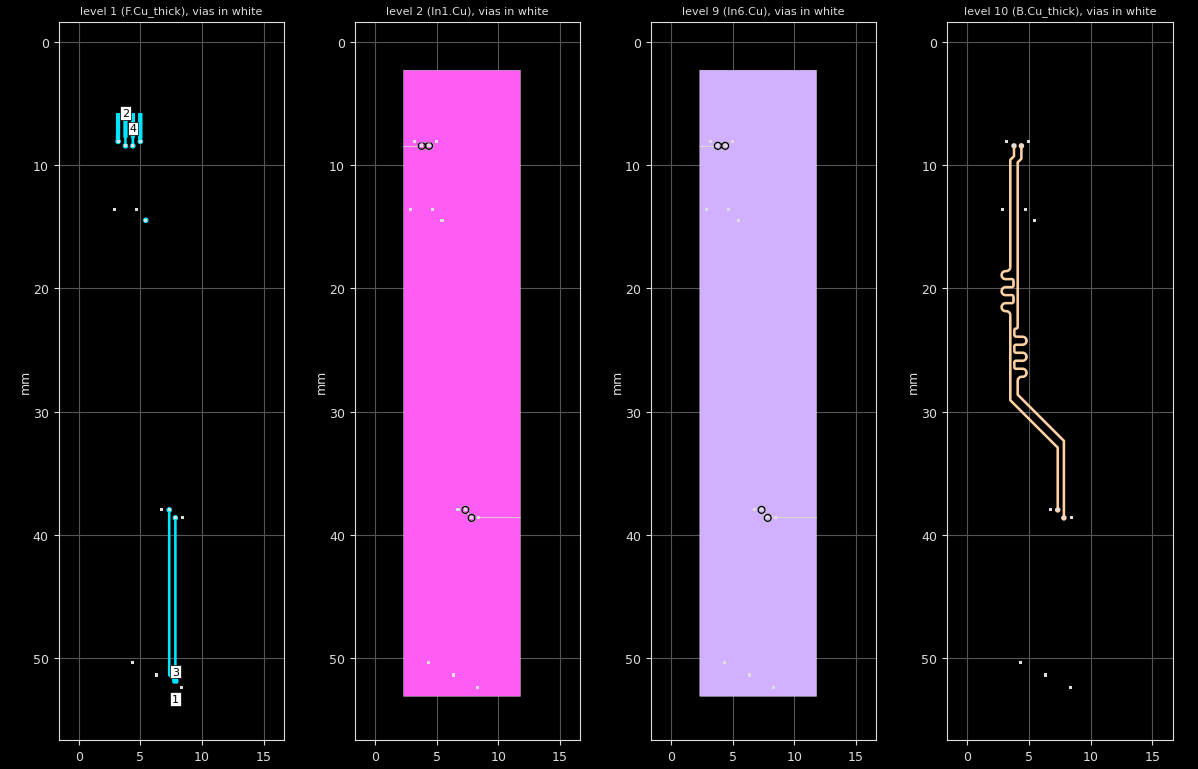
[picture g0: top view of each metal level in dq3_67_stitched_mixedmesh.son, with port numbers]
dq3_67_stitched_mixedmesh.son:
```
FTYP SONPROJ 19 ! Sonnet Project File
VER 18.52
HEADER
LIC antikernel2.1.51176
DAT 12/20/2021 19:28:15
BUILT_BY_CREATED dxf 18.52 12/15/2021 18:24:32
BUILT_BY_SAVED sonnet 18.52
MDATE 12/20/2021 19:28:15
HDATE 12/20/2021 19:28:15
ANN Created by dxfgeo, Sonnet Software Inc.
END HEADER
DIM
ANG DEG
CAP PF
CON /OH
FREQ GHZ
IND NH
LNG MM
RES OH
END DIM
CONTROL
VARSWP
OPTIONS  -dj
SPEED 1
CACHE_ABS 2
Q_ACC N
END CONTROL
GEO
TMET "Free Space" 0 FREESPACE 376.7303136 0 0 0
BMET "Free Space" 0 FREESPACE 376.7303136 0 0 0
MET "Copper_1oz_thin" 1 NOR 58000000 0.5 0.035 
MET "Copper_1oz_thick" 2 TMM 58000000 0.5 0.035 2
MET "Copper_0.5oz_thin" 4 NOR 58000000 0.5 0.017 
MET "Copper_0.5oz_thick" 12 TMM 58000000 0.5 0.017 2
MET "Copper_0.5oz_thick_down" 5 TMM 58000000 0.5 0.017 2 CDVY TDWN
MET "Copper_1oz_thick_down" 3 TMM 58000000 0.5 0.035 2 CDVY TDWN
BOX 12 15 55 1200 4400 20 0
      5 1 1 0 0 0 0 "Air"
      0.04 3.5 1 0.025 0 0 0 "Soldermask"
      0.075 3.39 1 0.004 0 0 0 "Panasonic_R-5775(G)"
      0.068 3.56 1 0.004 0 0 0 "Panasonic_R-5670(G)"
      0.13 3.39 1 0.004 0 0 0 "Panasonic_R-5775(G)"
      0.092 3.56 1 0.004 0 0 0 "Panasonic_R-5670(G)"
      0.609 3.39 1 0.004 0 0 0 "Panasonic_R-5775(G)"
      0.092 3.56 1 0.004 0 0 0 "Panasonic_R-5670(G)"
      0.13 3.39 1 0.004 0 0 0 "Panasonic_R-5775(G)"
      0.068 3.56 1 0.004 0 0 0 "Panasonic_R-5670(G)"
      0.075 3.39 1 0.004 0 0 0 "Panasonic_R-5775(G)"
      0.04 3.5 1 0.025 0 0 0 "Soldermask"
      5 1 1 0 0 0 0 "Air"
TECHLAY METAL F.Cu_thick L1D0 -2 -65534 CAD F.Cu_thick drawing 
1 0 1 N 6837 1 1 100 100 0 0 0 Y
END
END
TECHLAY VIA Via1 L9D0 -13 -65534 CAD Via1 drawing 
VIA POLYGON
1 0 -1 N 6847 1 1 100 100 0 0 0 Y
TOLEVEL 10 RING NOCOVERS
END
END
TECHLAY METAL F.Cu_thin <UNSPECIFIED> -1 -65534 CAD F.Cu_thin drawing 
1 0 0 N 6849 1 1 100 100 0 0 0 Y
END
END
TECHLAY METAL In1.Cu L2D0 -3 -65534 CAD In1.Cu drawing 
2 0 0 N 6852 1 1 100 100 0 0 0 Y
END
END
TECHLAY METAL In2.Cu_thick L3D0 -5 -65534 CAD In2.Cu_thick drawing 
3 0 3 N 6855 1 1 100 100 0 0 0 Y
END
END
TECHLAY METAL In2.Cu_thin <UNSPECIFIED> -4 -65534 CAD In2.Cu drawing 
3 0 2 N 6857 1 1 100 100 0 0 0 Y
END
END
TECHLAY METAL In3.Cu L4D0 -6 -65534 CAD In3.Cu drawing 
4 0 0 N 6860 1 1 100 100 0 0 0 Y
END
END
TECHLAY METAL In4.Cu L5D0 -7 -65534 CAD In4.Cu drawing 
7 0 0 N 6865 1 1 100 100 0 0 0 Y
END
END
TECHLAY METAL In5.Cu_thick L6D0 -9 -65534 CAD In5.Cu_thick drawing 
8 0 4 N 6868 1 1 100 100 0 0 0 Y
END
END
TECHLAY METAL In5.Cu_thin <UNSPECIFIED> -8 -65534 CAD In5.Cu drawing 
8 0 2 N 6870 1 1 100 100 0 0 0 Y
END
END
TECHLAY METAL In6.Cu L7D0 -10 -65534 CAD In6.Cu drawing 
9 0 0 N 6873 1 1 100 100 0 0 0 Y
END
END
TECHLAY METAL B.Cu_thick L8D0 -12 -65534 CAD B.Cu_thick drawing 
10 0 5 N 6876 1 1 100 100 0 0 0 Y
END
END
TECHLAY METAL B.Cu_thin <UNSPECIFIED> -11 -65534 CAD B.Cu_thin drawing 
10 0 0 N 6878 1 1 100 100 0 0 0 Y
END
END
VALVAR CORE_ER NONE "table1(\"core_er.csv\",FREQ)" "Variable set in material file"
VALVAR CORE_DF NONE "table1(\"core_df.csv\",FREQ)" "Variable set in material file"
VALVAR PREPREG_DF NONE "table1(\"prepreg_df.csv\",FREQ)" "Variable set in material file"
VALVAR PREPREG_ER NONE "table1(\"prepreg_er.csv\",FREQ)" "Variable set in material file"
LORGN 0 55 U 
POR1 CUP Auto
GNDREF AUTO
TERMW FEED
POLY 90 1
30
2 40 0 0 0 3.783 5.774 
CUPGRP "Auto" LOCAL
ID 6839
END
POR1 CUP Auto
GNDREF AUTO
TERMW FEED
POLY 91 1
30
4 40 0 0 0 4.383 5.774 
CUPGRP "Auto" LOCAL
ID 6841
END
POR1 CUP Auto
GNDREF AUTO
TERMW FEED
POLY 6737 1
102
3 40 0 0 0 7.833 51.1 
CUPGRP "Auto" LOCAL
ID 6843
END
POR1 CUP Auto
GNDREF AUTO
TERMW FEED
POLY 6739 1
109
1 40 0 0 0 7.833 52.075 
CUPGRP "Auto" LOCAL
ID 6845
END
NUM 35
1 65 1 N 51 1 1 100 100 0 0 0 Y
TLAYNAM F.Cu_thick INH
USER_DAT FromImport
5.422 14.699
5.4 14.697
5.378 14.692
5.357 14.686
5.337 14.677
5.317 14.667
5.299 14.655
5.282 14.641
5.266 14.625
5.252 14.608
5.24 14.59
5.23 14.57
5.221 14.55
5.215 14.529
5.21 14.507
5.208 14.485
5.208 14.463
5.21 14.441
5.215 14.419
5.221 14.398
5.23 14.378
5.24 14.358
5.252 14.34
5.266 14.323
5.282 14.307
5.299 14.293
5.317 14.281
5.337 14.271
5.357 14.262
5.378 14.256
5.4 14.251
5.422 14.249
5.444 14.249
5.466 14.251
5.488 14.256
5.509 14.262
5.529 14.271
5.549 14.281
5.567 14.293
5.584 14.307
5.6 14.323
5.614 14.34
5.626 14.358
5.636 14.378
5.645 14.398
5.651 14.419
5.656 14.441
5.658 14.463
5.658 14.485
5.656 14.507
5.651 14.529
5.645 14.55
5.636 14.57
5.626 14.59
5.614 14.608
5.6 14.625
5.584 14.641
5.567 14.655
5.549 14.667
5.529 14.677
5.509 14.686
5.488 14.692
5.466 14.697
5.444 14.699
5.422 14.699
END
1 63 1 N 90 1 1 100 100 0 0 0 Y
TLAYNAM F.Cu_thick INH
USER_DAT FromImport
3.772 8.659
3.75 8.657
3.728 8.652
3.707 8.646
3.687 8.637
3.667 8.627
3.649 8.615
3.632 8.601
3.616 8.585
3.602 8.568
3.59 8.55
3.58 8.53
3.571 8.51
3.565 8.489
3.56 8.467
3.558 8.445
3.558 8.423
3.56 8.401
3.565 8.379
3.571 8.358
3.58 8.338
3.59 8.318
3.602 8.3
3.616 8.283
3.632 8.267
3.649 8.253
3.667 8.241
3.678 8.236
3.678 7.774
3.608 7.774
3.608 5.774
3.958 5.774
3.958 7.774
3.888 7.774
3.888 8.236
3.899 8.241
3.917 8.253
3.934 8.267
3.95 8.283
3.964 8.3
3.976 8.318
3.986 8.338
3.995 8.358
4.001 8.379
4.006 8.401
4.008 8.423
4.008 8.445
4.006 8.467
4.001 8.489
3.995 8.51
3.986 8.53
3.976 8.55
3.964 8.568
3.95 8.585
3.934 8.601
3.917 8.615
3.899 8.627
3.879 8.637
3.859 8.646
3.838 8.652
3.816 8.657
3.794 8.659
3.772 8.659
END
1 63 1 N 91 1 1 100 100 0 0 0 Y
TLAYNAM F.Cu_thick INH
USER_DAT FromImport
4.372 8.659
4.35 8.657
4.328 8.652
4.307 8.646
4.287 8.637
4.267 8.627
4.249 8.615
4.232 8.601
4.216 8.585
4.202 8.568
4.19 8.55
4.18 8.53
4.171 8.51
4.165 8.489
4.16 8.467
4.158 8.445
4.158 8.423
4.16 8.401
4.165 8.379
4.171 8.358
4.18 8.338
4.19 8.318
4.202 8.3
4.216 8.283
4.232 8.267
4.249 8.253
4.267 8.241
4.278 8.236
4.278 7.774
4.208 7.774
4.208 5.774
4.558 5.774
4.558 7.774
4.488 7.774
4.488 8.236
4.499 8.241
4.517 8.253
4.534 8.267
4.55 8.283
4.564 8.3
4.576 8.318
4.586 8.338
4.595 8.358
4.601 8.379
4.606 8.401
4.608 8.423
4.608 8.445
4.606 8.467
4.601 8.489
4.595 8.51
4.586 8.53
4.576 8.55
4.564 8.568
4.55 8.585
4.534 8.601
4.517 8.615
4.499 8.627
4.479 8.637
4.459 8.646
4.438 8.652
4.416 8.657
4.394 8.659
4.372 8.659
END
1 105 1 N 6737 1 1 100 100 0 0 0 Y
TLAYNAM F.Cu_thick INH
USER_DAT FromImport
7.991 51.087
8.011 51.07
8.029 51.052
8.046 51.032
8.06 51.01
8.073 50.987
8.083 50.963
8.09 50.938
8.095 50.913
8.098 50.887
8.098 50.861
8.095 50.835
8.09 50.81
8.083 50.785
8.073 50.761
8.06 50.738
8.046 50.716
8.029 50.696
8.011 50.678
7.991 50.661
7.969 50.647
7.946 50.634
7.938 50.631
7.938 38.823
7.949 38.817
7.967 38.805
7.984 38.791
8 38.775
8.014 38.758
8.026 38.74
8.036 38.72
8.045 38.7
8.051 38.679
8.056 38.657
8.058 38.635
8.058 38.613
8.056 38.591
8.051 38.569
8.045 38.548
8.036 38.528
8.026 38.508
8.014 38.49
8 38.473
7.984 38.457
7.967 38.443
7.949 38.431
7.929 38.421
7.909 38.412
7.888 38.406
7.866 38.401
7.844 38.399
7.822 38.399
7.8 38.401
7.778 38.406
7.757 38.412
7.737 38.421
7.717 38.431
7.699 38.443
7.682 38.457
7.666 38.473
7.652 38.49
7.64 38.508
7.63 38.528
7.621 38.548
7.615 38.569
7.61 38.591
7.608 38.613
7.608 38.635
7.61 38.657
7.615 38.679
7.621 38.7
7.63 38.72
7.64 38.74
7.652 38.758
7.666 38.775
7.682 38.791
7.699 38.805
7.717 38.817
7.728 38.823
7.728 50.631
7.72 50.634
7.697 50.647
7.675 50.661
7.655 50.678
7.637 50.696
7.62 50.716
7.606 50.738
7.593 50.761
7.583 50.785
7.576 50.81
7.571 50.835
7.568 50.861
7.568 50.887
7.571 50.913
7.576 50.938
7.583 50.963
7.593 50.987
7.606 51.01
7.62 51.032
7.637 51.052
7.655 51.07
7.675 51.087
7.695428571 51.1
7.970571429 51.1
7.991 51.087
END
1 112 1 N 6739 1 1 100 100 0 0 0 Y
TLAYNAM F.Cu_thick INH
USER_DAT FromImport
8.011 52.07
8.029 52.052
8.046 52.032
8.06 52.01
8.073 51.987
8.083 51.963
8.09 51.938
8.095 51.913
8.098 51.887
8.098 51.861
8.095 51.835
8.09 51.81
8.083 51.785
8.073 51.761
8.06 51.738
8.046 51.716
8.029 51.696
8.011 51.678
7.991 51.661
7.969 51.647
7.946 51.634
7.922 51.624
7.897 51.617
7.872 51.612
7.846 51.609
7.82 51.609
7.794 51.612
7.769 51.617
7.744 51.624
7.736 51.628
7.438 51.33
7.438 38.173
7.449 38.167
7.467 38.155
7.484 38.141
7.5 38.125
7.514 38.108
7.526 38.09
7.536 38.07
7.545 38.05
7.551 38.029
7.556 38.007
7.558 37.985
7.558 37.963
7.556 37.941
7.551 37.919
7.545 37.898
7.536 37.878
7.526 37.858
7.514 37.84
7.5 37.823
7.484 37.807
7.467 37.793
7.449 37.781
7.429 37.771
7.409 37.762
7.388 37.756
7.366 37.751
7.344 37.749
7.322 37.749
7.3 37.751
7.278 37.756
7.257 37.762
7.237 37.771
7.217 37.781
7.199 37.793
7.182 37.807
7.166 37.823
7.152 37.84
7.14 37.858
7.13 37.878
7.121 37.898
7.115 37.919
7.11 37.941
7.108 37.963
7.108 37.985
7.11 38.007
7.115 38.029
7.121 38.05
7.13 38.07
7.14 38.09
7.152 38.108
7.166 38.125
7.182 38.141
7.199 38.155
7.217 38.167
7.228 38.173
7.228 51.379
7.229 51.389
7.231 51.4
7.234 51.409
7.238 51.419
7.243 51.428
7.249 51.437
7.255 51.445
7.587 51.777
7.583 51.785
7.576 51.81
7.571 51.835
7.568 51.861
7.568 51.887
7.571 51.913
7.576 51.938
7.583 51.963
7.593 51.987
7.606 52.01
7.62 52.032
7.637 52.052
7.655 52.07
7.660882353 52.075
8.005117647 52.075
8.011 52.07
END
1 56 1 N 6750 1 1 100 100 0 0 0 Y
TLAYNAM F.Cu_thick INH
USER_DAT FromImport
5.016 8.297
5.038 8.292
5.059 8.286
5.079 8.277
5.099 8.267
5.117 8.255
5.134 8.241
5.15 8.225
5.164 8.208
5.176 8.19
5.186 8.17
5.195 8.15
5.201 8.129
5.206 8.107
5.208 8.085
5.208 8.063
5.206 8.041
5.201 8.019
5.195 7.998
5.186 7.978
5.176 7.958
5.164 7.94
5.15 7.923
5.15 7.774
5.158 7.774
5.158 5.774
4.808 5.774
4.808 7.45
4.8 7.45
4.8 7.923
4.816 7.923
4.802 7.94
4.79 7.958
4.78 7.978
4.771 7.998
4.765 8.019
4.76 8.041
4.758 8.063
4.758 8.085
4.76 8.107
4.765 8.129
4.771 8.15
4.78 8.17
4.79 8.19
4.802 8.208
4.816 8.225
4.832 8.241
4.849 8.255
4.867 8.267
4.887 8.277
4.907 8.286
4.928 8.292
4.95 8.297
4.972 8.299
4.994 8.299
5.016 8.297
END
1 56 1 N 6752 1 1 100 100 0 0 0 Y
TLAYNAM F.Cu_thick INH
USER_DAT FromImport
3.216 8.297
3.238 8.292
3.259 8.286
3.279 8.277
3.299 8.267
3.317 8.255
3.334 8.241
3.35 8.225
3.364 8.208
3.376 8.19
3.386 8.17
3.395 8.15
3.401 8.129
3.406 8.107
3.408 8.085
3.408 8.063
3.406 8.041
3.401 8.019
3.395 7.998
3.386 7.978
3.376 7.958
3.364 7.94
3.35 7.923
3.35 7.774
3.358 7.774
3.358 5.774
3.008 5.774
3.008 7.5
3 7.5
3 7.923
3.016 7.923
3.002 7.94
2.99 7.958
2.98 7.978
2.971 7.998
2.965 8.019
2.96 8.041
2.958 8.063
2.958 8.085
2.96 8.107
2.965 8.129
2.971 8.15
2.98 8.17
2.99 8.19
3.002 8.208
3.016 8.225
3.032 8.241
3.049 8.255
3.067 8.267
3.087 8.277
3.107 8.286
3.128 8.292
3.15 8.297
3.172 8.299
3.194 8.299
3.216 8.297
END
VIA POLYGON
1 5 -1 N 6002 1 1 100 100 0 0 0 Y
TOLEVEL 10 RING NOCOVERS
TLAYNAM Via1 INH
USER_DAT FromImport
5.308 14.599
5.308 14.349
5.558 14.349
5.558 14.599
5.308 14.599
END
VIA POLYGON
1 5 -1 N 6012 1 1 100 100 0 0 0 Y
TOLEVEL 10 RING NOCOVERS
TLAYNAM Via1 INH
USER_DAT FromImport
2.758 13.749
2.758 13.499
3.008 13.499
3.008 13.749
2.758 13.749
END
VIA POLYGON
1 5 -1 N 6013 1 1 100 100 0 0 0 Y
TOLEVEL 10 RING NOCOVERS
TLAYNAM Via1 INH
USER_DAT FromImport
4.558 13.749
4.558 13.499
4.808 13.499
4.808 13.749
4.558 13.749
END
VIA POLYGON
1 5 -1 N 6041 1 1 100 100 0 0 0 Y
TOLEVEL 10 RING NOCOVERS
TLAYNAM Via1 INH
USER_DAT FromImport
3.658 8.559
3.658 8.309
3.908 8.309
3.908 8.559
3.658 8.559
END
VIA POLYGON
1 5 -1 N 6042 1 1 100 100 0 0 0 Y
TOLEVEL 10 RING NOCOVERS
TLAYNAM Via1 INH
USER_DAT FromImport
4.258 8.559
4.258 8.309
4.508 8.309
4.508 8.559
4.258 8.559
END
VIA POLYGON
1 5 -1 N 6050 1 1 100 100 0 0 0 Y
TOLEVEL 10 RING NOCOVERS
TLAYNAM Via1 INH
USER_DAT FromImport
3.058 8.199
3.058 7.949
3.308 7.949
3.308 8.199
3.058 8.199
END
VIA POLYGON
1 5 -1 N 6051 1 1 100 100 0 0 0 Y
TOLEVEL 10 RING NOCOVERS
TLAYNAM Via1 INH
USER_DAT FromImport
4.858 8.199
4.858 7.949
5.108 7.949
5.108 8.199
4.858 8.199
END
VIA POLYGON
1 5 -1 N 6161 1 1 100 100 0 0 0 Y
TOLEVEL 10 RING NOCOVERS
TLAYNAM Via1 INH
USER_DAT FromImport
7.708 38.749
7.708 38.499
7.958 38.499
7.958 38.749
7.708 38.749
END
VIA POLYGON
1 5 -1 N 6163 1 1 100 100 0 0 0 Y
TOLEVEL 10 RING NOCOVERS
TLAYNAM Via1 INH
USER_DAT FromImport
7.208 38.099
7.208 37.849
7.458 37.849
7.458 38.099
7.208 38.099
END
VIA POLYGON
1 5 -1 N 6184 1 1 100 100 0 0 0 Y
TOLEVEL 10 RING NOCOVERS
TLAYNAM Via1 INH
USER_DAT FromImport
8.208 52.499
8.208 52.249
8.458 52.249
8.458 52.499
8.208 52.499
END
VIA POLYGON
1 5 -1 N 6186 1 1 100 100 0 0 0 Y
TOLEVEL 10 RING NOCOVERS
TLAYNAM Via1 INH
USER_DAT FromImport
6.208 51.499
6.208 51.249
6.458 51.249
6.458 51.499
6.208 51.499
END
VIA POLYGON
1 5 -1 N 6188 1 1 100 100 0 0 0 Y
TOLEVEL 10 RING NOCOVERS
TLAYNAM Via1 INH
USER_DAT FromImport
4.208 50.499
4.208 50.249
4.458 50.249
4.458 50.499
4.208 50.499
END
VIA POLYGON
1 5 -1 N 6820 1 1 100 100 0 0 0 Y
TOLEVEL 10 RING NOCOVERS
TLAYNAM Via1 INH
USER_DAT FromImport
6.608 38.099
6.608 37.849
6.858 37.849
6.858 38.099
6.608 38.099
END
VIA POLYGON
1 5 -1 N 6821 1 1 100 100 0 0 0 Y
TOLEVEL 10 RING NOCOVERS
TLAYNAM Via1 INH
USER_DAT FromImport
8.308 38.749
8.308 38.499
8.558 38.499
8.558 38.749
8.308 38.749
END
2 65 0 N 1459 1 1 100 100 0 0 0 Y
TLAYNAM In1.Cu INH
USER_DAT FromImport
7.322 38.199
7.3 38.197
7.278 38.192
7.257 38.186
7.237 38.177
7.217 38.167
7.199 38.155
7.182 38.141
7.166 38.125
7.152 38.108
7.14 38.09
7.13 38.07
7.121 38.05
7.115 38.029
7.11 38.007
7.108 37.985
7.108 37.963
7.11 37.941
7.115 37.919
7.121 37.898
7.13 37.878
7.14 37.858
7.152 37.84
7.166 37.823
7.182 37.807
7.199 37.793
7.217 37.781
7.237 37.771
7.257 37.762
7.278 37.756
7.3 37.751
7.322 37.749
7.344 37.749
7.366 37.751
7.388 37.756
7.409 37.762
7.429 37.771
7.449 37.781
7.467 37.793
7.484 37.807
7.5 37.823
7.514 37.84
7.526 37.858
7.536 37.878
7.545 37.898
7.551 37.919
7.556 37.941
7.558 37.963
7.558 37.985
7.556 38.007
7.551 38.029
7.545 38.05
7.536 38.07
7.526 38.09
7.514 38.108
7.5 38.125
7.484 38.141
7.467 38.155
7.449 38.167
7.429 38.177
7.409 38.186
7.388 38.192
7.366 38.197
7.344 38.199
7.322 38.199
END
2 65 0 N 1521 1 1 100 100 0 0 0 Y
TLAYNAM In1.Cu INH
USER_DAT FromImport
3.772 8.659
3.75 8.657
3.728 8.652
3.707 8.646
3.687 8.637
3.667 8.627
3.649 8.615
3.632 8.601
3.616 8.585
3.602 8.568
3.59 8.55
3.58 8.53
3.571 8.51
3.565 8.489
3.56 8.467
3.558 8.445
3.558 8.423
3.56 8.401
3.565 8.379
3.571 8.358
3.58 8.338
3.59 8.318
3.602 8.3
3.616 8.283
3.632 8.267
3.649 8.253
3.667 8.241
3.687 8.231
3.707 8.222
3.728 8.216
3.75 8.211
3.772 8.209
3.794 8.209
3.816 8.211
3.838 8.216
3.859 8.222
3.879 8.231
3.899 8.241
3.917 8.253
3.934 8.267
3.95 8.283
3.964 8.3
3.976 8.318
3.986 8.338
3.995 8.358
4.001 8.379
4.006 8.401
4.008 8.423
4.008 8.445
4.006 8.467
4.001 8.489
3.995 8.51
3.986 8.53
3.976 8.55
3.964 8.568
3.95 8.585
3.934 8.601
3.917 8.615
3.899 8.627
3.879 8.637
3.859 8.646
3.838 8.652
3.816 8.657
3.794 8.659
3.772 8.659
END
2 65 0 N 1522 1 1 100 100 0 0 0 Y
TLAYNAM In1.Cu INH
USER_DAT FromImport
4.372 8.659
4.35 8.657
4.328 8.652
4.307 8.646
4.287 8.637
4.267 8.627
4.249 8.615
4.232 8.601
4.216 8.585
4.202 8.568
4.19 8.55
4.18 8.53
4.171 8.51
4.165 8.489
4.16 8.467
4.158 8.445
4.158 8.423
4.16 8.401
4.165 8.379
4.171 8.358
4.18 8.338
4.19 8.318
4.202 8.3
4.216 8.283
4.232 8.267
4.249 8.253
4.267 8.241
4.287 8.231
4.307 8.222
4.328 8.216
4.35 8.211
4.372 8.209
4.394 8.209
4.416 8.211
4.438 8.216
4.459 8.222
4.479 8.231
4.499 8.241
4.517 8.253
4.534 8.267
4.55 8.283
4.564 8.3
4.576 8.318
4.586 8.338
4.595 8.358
4.601 8.379
4.606 8.401
4.608 8.423
4.608 8.445
4.606 8.467
4.601 8.489
4.595 8.51
4.586 8.53
4.576 8.55
4.564 8.568
4.55 8.585
4.534 8.601
4.517 8.615
4.499 8.627
4.479 8.637
4.459 8.646
4.438 8.652
4.416 8.657
4.394 8.659
4.372 8.659
END
2 65 0 N 1545 1 1 100 100 0 0 0 Y
TLAYNAM In1.Cu INH
USER_DAT FromImport
7.822 38.849
7.8 38.847
7.778 38.842
7.757 38.836
7.737 38.827
7.717 38.817
7.699 38.805
7.682 38.791
7.666 38.775
7.652 38.758
7.64 38.74
7.63 38.72
7.621 38.7
7.615 38.679
7.61 38.657
7.608 38.635
7.608 38.613
7.61 38.591
7.615 38.569
7.621 38.548
7.63 38.528
7.64 38.508
7.652 38.49
7.666 38.473
7.682 38.457
7.699 38.443
7.717 38.431
7.737 38.421
7.757 38.412
7.778 38.406
7.8 38.401
7.822 38.399
7.844 38.399
7.866 38.401
7.888 38.406
7.909 38.412
7.929 38.421
7.949 38.431
7.967 38.443
7.984 38.457
8 38.473
8.014 38.49
8.026 38.508
8.036 38.528
8.045 38.548
8.051 38.569
8.056 38.591
8.058 38.613
8.058 38.635
8.056 38.657
8.051 38.679
8.045 38.7
8.036 38.72
8.026 38.74
8.014 38.758
8 38.775
7.984 38.791
7.967 38.805
7.949 38.817
7.929 38.827
7.909 38.836
7.888 38.842
7.866 38.847
7.844 38.849
7.822 38.849
END
2 181 0 N 6732 1 1 100 100 0 0 0 Y
TLAYNAM In1.Cu INH
USER_DAT FromImport
11.796 38.592
11.796 38.592
8.183 38.592
8.183 38.662
8.17 38.723
8.14 38.795
8.14 38.796
8.105 38.847
8.059 38.893
7.993 38.938
7.992 38.938
7.942 38.959
7.94 38.959
7.865 38.974
7.795 38.974
7.734 38.961
7.662 38.931
7.661 38.931
7.61 38.896
7.564 38.85
7.519 38.784
7.519 38.783
7.498 38.733
7.498 38.731
7.483 38.656
7.483 38.586
7.496 38.525
7.526 38.453
7.526 38.452
7.561 38.401
7.561 38.241
7.559 38.243
7.493 38.288
7.492 38.288
7.442 38.309
7.44 38.309
7.365 38.324
7.295 38.324
7.234 38.311
7.162 38.281
7.161 38.281
7.11 38.246
7.064 38.2
7.019 38.134
7.019 38.133
6.998 38.083
6.998 38.081
6.983 38.006
6.983 37.936
6.996 37.875
7.026 37.803
7.026 37.802
7.061 37.751
7.107 37.705
7.173 37.66
7.174 37.66
7.224 37.639
7.226 37.639
7.301 37.624
7.371 37.624
7.432 37.637
7.504 37.667
7.505 37.667
7.556 37.702
7.602 37.748
7.647 37.814
7.647 37.815
7.668 37.865
7.668 37.867
7.683 37.942
7.683 38.012
7.67 38.073
7.64 38.145
7.64 38.146
7.605 38.197
7.561 38.241
7.561 38.401
7.607 38.355
7.673 38.31
7.674 38.31
7.724 38.289
7.726 38.289
7.801 38.274
7.871 38.274
7.932 38.287
8.004 38.317
8.005 38.317
8.056 38.352
8.102 38.398
8.147 38.464
8.147 38.465
8.168 38.515
8.168 38.517
8.183 38.592
11.796 38.592
11.796 2.294
2.321 2.294
2.321 8.466
3.433 8.466
3.433 8.396
3.446 8.335
3.476 8.263
3.476 8.262
3.511 8.211
3.557 8.165
3.596 8.139
3.972 8.139
4.006 8.162
4.049 8.205
4.057 8.211
4.062 8.213
4.066 8.215
4.071 8.217
4.076 8.218
4.09 8.218
4.095 8.217
4.1 8.215
4.104 8.213
4.109 8.211
4.117 8.205
4.157 8.165
4.196 8.139
4.572 8.139
4.606 8.162
4.652 8.208
4.697 8.274
4.697 8.275
4.718 8.325
4.718 8.327
4.732 8.397
4.733 8.4
4.733 8.472
4.72 8.533
4.69 8.605
4.69 8.606
4.655 8.657
4.609 8.703
4.543 8.748
4.542 8.748
4.492 8.769
4.49 8.769
4.415 8.784
4.345 8.784
4.284 8.771
4.212 8.741
4.211 8.741
4.16 8.706
4.117 8.663
4.109 8.657
4.104 8.655
4.1 8.653
4.095 8.651
4.09 8.65
4.076 8.65
4.071 8.651
4.066 8.653
4.062 8.655
4.057 8.657
4.049 8.663
4.009 8.703
3.943 8.748
3.942 8.748
3.892 8.769
3.89 8.769
3.815 8.784
3.745 8.784
3.684 8.771
3.612 8.741
3.611 8.741
3.56 8.706
3.514 8.66
3.469 8.594
3.469 8.593
3.448 8.543
3.448 8.541
3.433 8.466
2.321 8.466
2.321 8.466
2.321 53.102
11.796 53.102
11.796 38.592
END
9 65 0 N 5532 1 1 100 100 0 0 0 Y
TLAYNAM In6.Cu INH
USER_DAT FromImport
7.322 38.199
7.3 38.197
7.278 38.192
7.257 38.186
7.237 38.177
7.217 38.167
7.199 38.155
7.182 38.141
7.166 38.125
7.152 38.108
7.14 38.09
7.13 38.07
7.121 38.05
7.115 38.029
7.11 38.007
7.108 37.985
7.108 37.963
7.11 37.941
7.115 37.919
7.121 37.898
7.13 37.878
7.14 37.858
7.152 37.84
7.166 37.823
7.182 37.807
7.199 37.793
7.217 37.781
7.237 37.771
7.257 37.762
7.278 37.756
7.3 37.751
7.322 37.749
7.344 37.749
7.366 37.751
7.388 37.756
7.409 37.762
7.429 37.771
7.449 37.781
7.467 37.793
7.484 37.807
7.5 37.823
7.514 37.84
7.526 37.858
7.536 37.878
7.545 37.898
7.551 37.919
7.556 37.941
7.558 37.963
7.558 37.985
7.556 38.007
7.551 38.029
7.545 38.05
7.536 38.07
7.526 38.09
7.514 38.108
7.5 38.125
7.484 38.141
7.467 38.155
7.449 38.167
7.429 38.177
7.409 38.186
7.388 38.192
7.366 38.197
7.344 38.199
7.322 38.199
END
9 65 0 N 5594 1 1 100 100 0 0 0 Y
TLAYNAM In6.Cu INH
USER_DAT FromImport
3.772 8.659
3.75 8.657
3.728 8.652
3.707 8.646
3.687 8.637
3.667 8.627
3.649 8.615
3.632 8.601
3.616 8.585
3.602 8.568
3.59 8.55
3.58 8.53
3.571 8.51
3.565 8.489
3.56 8.467
3.558 8.445
3.558 8.423
3.56 8.401
3.565 8.379
3.571 8.358
3.58 8.338
3.59 8.318
3.602 8.3
3.616 8.283
3.632 8.267
3.649 8.253
3.667 8.241
3.687 8.231
3.707 8.222
3.728 8.216
3.75 8.211
3.772 8.209
3.794 8.209
3.816 8.211
3.838 8.216
3.859 8.222
3.879 8.231
3.899 8.241
3.917 8.253
3.934 8.267
3.95 8.283
3.964 8.3
3.976 8.318
3.986 8.338
3.995 8.358
4.001 8.379
4.006 8.401
4.008 8.423
4.008 8.445
4.006 8.467
4.001 8.489
3.995 8.51
3.986 8.53
3.976 8.55
3.964 8.568
3.95 8.585
3.934 8.601
3.917 8.615
3.899 8.627
3.879 8.637
3.859 8.646
3.838 8.652
3.816 8.657
3.794 8.659
3.772 8.659
END
9 65 0 N 5595 1 1 100 100 0 0 0 Y
TLAYNAM In6.Cu INH
USER_DAT FromImport
4.372 8.659
4.35 8.657
4.328 8.652
4.307 8.646
4.287 8.637
4.267 8.627
4.249 8.615
4.232 8.601
4.216 8.585
4.202 8.568
4.19 8.55
4.18 8.53
4.171 8.51
4.165 8.489
4.16 8.467
4.158 8.445
4.158 8.423
4.16 8.401
4.165 8.379
4.171 8.358
4.18 8.338
4.19 8.318
4.202 8.3
4.216 8.283
4.232 8.267
4.249 8.253
4.267 8.241
4.287 8.231
4.307 8.222
4.328 8.216
4.35 8.211
4.372 8.209
4.394 8.209
4.416 8.211
4.438 8.216
4.459 8.222
4.479 8.231
4.499 8.241
4.517 8.253
4.534 8.267
4.55 8.283
4.564 8.3
4.576 8.318
4.586 8.338
4.595 8.358
4.601 8.379
4.606 8.401
4.608 8.423
4.608 8.445
4.606 8.467
4.601 8.489
4.595 8.51
4.586 8.53
4.576 8.55
4.564 8.568
4.55 8.585
4.534 8.601
4.517 8.615
4.499 8.627
4.479 8.637
4.459 8.646
4.438 8.652
4.416 8.657
4.394 8.659
4.372 8.659
END
9 65 0 N 5618 1 1 100 100 0 0 0 Y
TLAYNAM In6.Cu INH
USER_DAT FromImport
7.822 38.849
7.8 38.847
7.778 38.842
7.757 38.836
7.737 38.827
7.717 38.817
7.699 38.805
7.682 38.791
7.666 38.775
7.652 38.758
7.64 38.74
7.63 38.72
7.621 38.7
7.615 38.679
7.61 38.657
7.608 38.635
7.608 38.613
7.61 38.591
7.615 38.569
7.621 38.548
7.63 38.528
7.64 38.508
7.652 38.49
7.666 38.473
7.682 38.457
7.699 38.443
7.717 38.431
7.737 38.421
7.757 38.412
7.778 38.406
7.8 38.401
7.822 38.399
7.844 38.399
7.866 38.401
7.888 38.406
7.909 38.412
7.929 38.421
7.949 38.431
7.967 38.443
7.984 38.457
8 38.473
8.014 38.49
8.026 38.508
8.036 38.528
8.045 38.548
8.051 38.569
8.056 38.591
8.058 38.613
8.058 38.635
8.056 38.657
8.051 38.679
8.045 38.7
8.036 38.72
8.026 38.74
8.014 38.758
8 38.775
7.984 38.791
7.967 38.805
7.949 38.817
7.929 38.827
7.909 38.836
7.888 38.842
7.866 38.847
7.844 38.849
7.822 38.849
END
9 195 0 N 6735 1 1 100 100 0 0 0 Y
TLAYNAM In6.Cu INH
USER_DAT FromImport
11.796 37.942
11.796 2.294
2.321 2.294
2.321 8.466
3.433 8.466
3.433 8.396
3.446 8.335
3.476 8.263
3.476 8.262
3.511 8.211
3.557 8.165
3.623 8.12
3.624 8.12
3.674 8.099
3.676 8.099
3.751 8.084
3.821 8.084
3.882 8.097
3.954 8.127
3.955 8.127
4.006 8.162
4.049 8.205
4.057 8.211
4.062 8.213
4.066 8.215
4.071 8.217
4.076 8.218
4.09 8.218
4.095 8.217
4.1 8.215
4.104 8.213
4.109 8.211
4.117 8.205
4.157 8.165
4.223 8.12
4.224 8.12
4.274 8.099
4.276 8.099
4.351 8.084
4.421 8.084
4.482 8.097
4.554 8.127
4.555 8.127
4.606 8.162
4.652 8.208
4.697 8.274
4.697 8.275
4.718 8.325
4.718 8.327
4.732 8.397
4.733 8.4
4.733 8.472
4.72 8.533
4.69 8.605
4.69 8.606
4.655 8.657
4.609 8.703
4.543 8.748
4.542 8.748
4.492 8.769
4.49 8.769
4.415 8.784
4.345 8.784
4.284 8.771
4.212 8.741
4.211 8.741
4.16 8.706
4.117 8.663
4.109 8.657
4.104 8.655
4.1 8.653
4.095 8.651
4.09 8.65
4.076 8.65
4.071 8.651
4.066 8.653
4.062 8.655
4.057 8.657
4.049 8.663
4.009 8.703
3.943 8.748
3.942 8.748
3.892 8.769
3.89 8.769
3.815 8.784
3.745 8.784
3.684 8.771
3.612 8.741
3.611 8.741
3.56 8.706
3.514 8.66
3.469 8.594
3.469 8.593
3.448 8.543
3.448 8.541
3.433 8.466
2.321 8.466
2.321 8.466
2.321 53.102
11.796 53.102
11.796 38.592
8.183 38.592
8.183 38.662
8.17 38.723
8.14 38.795
8.14 38.796
8.105 38.847
8.059 38.893
7.993 38.938
7.992 38.938
7.942 38.959
7.94 38.959
7.865 38.974
7.795 38.974
7.734 38.961
7.662 38.931
7.661 38.931
7.61 38.896
7.564 38.85
7.519 38.784
7.519 38.783
7.498 38.733
7.498 38.731
7.483 38.656
7.483 38.586
7.496 38.525
7.526 38.453
7.526 38.452
7.561 38.401
7.561 38.241
7.559 38.243
7.493 38.288
7.492 38.288
7.442 38.309
7.44 38.309
7.365 38.324
7.295 38.324
7.234 38.311
7.162 38.281
7.161 38.281
7.11 38.246
7.064 38.2
7.019 38.134
7.019 38.133
6.998 38.083
6.998 38.081
6.983 38.006
6.983 37.936
6.996 37.875
7.026 37.803
7.026 37.802
7.061 37.751
7.107 37.705
7.173 37.66
7.174 37.66
7.224 37.639
7.226 37.639
7.301 37.624
7.371 37.624
7.432 37.637
7.504 37.667
7.505 37.667
7.556 37.702
7.602 37.748
7.647 37.814
7.647 37.815
7.668 37.865
7.668 37.867
7.683 37.942
7.683 38.012
7.67 38.073
7.64 38.145
7.64 38.146
7.605 38.197
7.561 38.241
7.561 38.401
7.607 38.355
7.673 38.31
7.674 38.31
7.724 38.289
7.726 38.289
7.801 38.274
7.871 38.274
7.932 38.287
8.004 38.317
8.005 38.317
8.056 38.352
8.102 38.398
8.147 38.464
8.147 38.465
8.168 38.515
8.168 38.517
8.183 38.592
11.796 38.592
11.796 37.942
END
10 909 5 N 5761 1 1 100 100 0 0 0 Y
TLAYNAM B.Cu_thick INH
USER_DAT FromImport
7.822 38.849
7.8 38.847
7.778 38.842
7.757 38.836
7.737 38.827
7.717 38.817
7.699 38.805
7.682 38.791
7.666 38.775
7.652 38.758
7.64 38.74
7.63 38.72
7.621 38.7
7.615 38.679
7.61 38.657
7.608 38.635
7.608 38.613
7.61 38.591
7.615 38.569
7.621 38.548
7.63 38.528
7.64 38.508
7.652 38.49
7.666 38.473
7.682 38.457
7.699 38.443
7.717 38.431
7.728 38.426
7.728 32.418
4.005 28.695
3.999 28.687
3.993 28.678
3.988 28.669
3.984 28.659
3.981 28.65
3.979 28.639
3.978 28.629
3.978 27.493
3.979 27.484
3.986 27.419
3.986 27.417
3.987 27.414
3.987 27.41
3.989 27.4
3.99 27.398
3.99 27.397
3.993 27.39
4.014 27.328
4.015 27.325
4.019 27.315
4.021 27.312
4.022 27.309
4.027 27.3
4.032 27.294
4.033 27.292
4.061 27.247
4.063 27.242
4.072 27.23
4.074 27.228
4.081 27.22
4.087 27.214
4.089 27.213
4.129 27.172
4.134 27.167
4.142 27.161
4.151 27.155
4.154 27.154
4.16 27.15
4.201 27.124
4.216 27.114
4.217 27.113
4.218 27.113
4.22 27.112
4.228 27.109
4.234 27.106
4.244 27.103
4.245 27.103
4.299 27.084
4.306 27.081
4.315 27.079
4.319 27.078
4.323 27.078
4.326 27.077
4.328 27.077
4.392 27.07
4.401 27.069
4.47 27.069
4.528 27.063
4.573 27.046
4.615 27.02
4.65 26.984
4.674 26.946
4.691 26.899
4.696 26.849
4.691 26.798
4.674 26.753
4.648 26.711
4.612 26.676
4.573 26.651
4.528 26.635
4.469 26.629
3.941 26.629
3.933 26.628
3.911 26.626
3.907 26.626
3.901 26.625
3.891 26.623
3.889 26.622
3.884 26.62
3.881 26.619
3.867 26.614
3.865 26.613
3.857 26.611
3.847 26.607
3.838 26.603
3.804 26.581
3.796 26.575
3.788 26.568
3.781 26.56
3.779 26.558
3.778 26.556
3.772 26.551
3.763 26.542
3.757 26.534
3.735 26.499
3.727 26.481
3.724 26.471
3.719 26.456
3.716 26.449
3.712 26.429
3.712 26.42
3.71 26.407
3.71 26.405
3.709 26.4
3.709 26.002
3.71 25.994
3.712 25.972
3.712 25.969
3.713 25.966
3.713 25.962
3.715 25.952
3.716 25.95
3.716 25.949
3.719 25.942
3.724 25.928
3.726 25.92
3.727 25.918
3.728 25.915
3.73 25.91
3.734 25.901
3.735 25.9
3.735 25.899
3.736 25.898
3.739 25.892
3.743 25.887
3.745 25.884
3.748 25.879
3.748 25.878
3.758 25.862
3.765 25.854
3.793 25.825
3.801 25.819
3.813 25.811
3.821 25.807
3.823 25.805
3.832 25.799
3.837 25.796
3.839 25.795
3.84 25.795
3.841 25.794
3.85 25.79
3.851 25.789
3.863 25.785
3.867 25.784
3.881 25.779
3.888 25.776
3.908 25.772
3.917 25.772
3.941 25.769
4.47 25.769
4.528 25.763
4.573 25.746
4.615 25.72
4.65 25.684
4.674 25.646
4.691 25.599
4.696 25.549
4.691 25.498
4.674 25.453
4.648 25.411
4.612 25.376
4.573 25.351
4.528 25.335
4.469 25.329
3.941 25.329
3.933 25.328
3.911 25.326
3.907 25.326
3.901 25.325
3.891 25.323
3.889 25.322
3.884 25.32
3.881 25.319
3.867 25.314
3.865 25.313
3.857 25.311
3.847 25.307
3.838 25.303
3.804 25.281
3.796 25.275
3.788 25.268
3.781 25.26
3.779 25.258
3.778 25.256
3.772 25.251
3.763 25.242
3.757 25.234
3.735 25.199
3.727 25.181
3.724 25.171
3.719 25.156
3.716 25.149
3.712 25.129
3.712 25.12
3.71 25.107
3.71 25.105
3.709 25.1
3.709 24.702
3.71 24.694
3.712 24.672
3.712 24.669
3.713 24.666
3.713 24.662
3.715 24.652
3.716 24.65
3.716 24.649
3.719 24.642
3.724 24.628
3.726 24.62
3.727 24.618
3.728 24.615
3.73 24.61
3.734 24.601
3.735 24.6
3.735 24.599
3.736 24.598
3.739 24.592
3.743 24.587
3.745 24.584
3.748 24.579
3.748 24.578
3.758 24.562
3.765 24.554
3.793 24.525
3.801 24.519
3.813 24.511
3.821 24.507
3.823 24.505
3.832 24.499
3.837 24.496
3.839 24.495
3.84 24.495
3.841 24.494
3.85 24.49
3.851 24.489
3.863 24.485
3.867 24.484
3.881 24.479
3.888 24.476
3.908 24.472
3.917 24.472
3.941 24.469
4.47 24.469
4.528 24.463
4.573 24.446
4.615 24.42
4.65 24.384
4.674 24.346
4.691 24.299
4.696 24.249
4.691 24.198
4.674 24.153
4.648 24.111
4.612 24.076
4.573 24.051
4.528 24.035
4.469 24.029
4.078 24.029
4.068 24.028
4.057 24.026
4.048 24.023
4.038 24.019
4.029 24.015
4.027 24.014
3.943 24.014
3.933 24.013
3.923 24.011
3.922 24.011
3.911 24.01
3.907 24.01
3.901 24.009
3.891 24.007
3.889 24.006
3.884 24.004
3.881 24.003
3.867 23.998
3.865 23.997
3.857 23.995
3.847 23.991
3.838 23.987
3.832 23.983
3.819 23.974
3.811 23.97
3.81 23.969
3.802 23.964
3.798 23.961
3.796 23.959
3.788 23.952
3.784 23.947
3.77 23.933
3.765 23.929
3.759 23.921
3.751 23.909
3.747 23.901
3.745 23.899
3.739 23.89
3.736 23.885
3.735 23.883
3.735 23.882
3.734 23.881
3.73 23.872
3.729 23.871
3.725 23.859
3.724 23.855
3.719 23.841
3.716 23.834
3.712 23.814
3.712 23.805
3.709 23.781
3.709 23.386
3.71 23.378
3.712 23.356
3.712 23.352
3.713 23.346
3.715 23.336
3.716 23.334
3.718 23.329
3.719 23.326
3.724 23.312
3.725 23.31
3.727 23.302
3.731 23.292
3.735 23.283
3.739 23.277
3.748 23.264
3.752 23.256
3.753 23.255
3.758 23.247
3.761 23.243
3.763 23.241
3.77 23.233
3.775 23.229
3.789 23.215
3.793 23.21
3.801 23.204
3.813 23.196
3.821 23.192
3.823 23.19
3.832 23.184
3.837 23.181
3.839 23.18
3.84 23.18
3.841 23.179
3.85 23.175
3.851 23.174
3.863 23.17
3.867 23.169
3.872 23.167
3.873 23.166
3.881 23.163
3.891 23.16
3.906 23.157
3.91 23.157
3.956 23.152
3.96 23.15
3.969 23.145
3.97 23.144
3.97 23.143
3.975 23.135
3.976 23.134
3.976 23.132
3.978 23.117
3.978 9.769
3.979 9.759
3.981 9.748
3.984 9.739
3.988 9.729
3.993 9.72
3.999 9.711
4.005 9.703
4.278 9.43
4.278 8.633
4.267 8.627
4.249 8.615
4.232 8.601
4.216 8.585
4.202 8.568
4.19 8.55
4.18 8.53
4.171 8.51
4.165 8.489
4.16 8.467
4.158 8.445
4.158 8.423
4.16 8.401
4.165 8.379
4.171 8.358
4.18 8.338
4.19 8.318
4.202 8.3
4.216 8.283
4.232 8.267
4.249 8.253
4.267 8.241
4.287 8.231
4.307 8.222
4.328 8.216
4.35 8.211
4.372 8.209
4.394 8.209
4.416 8.211
4.438 8.216
4.459 8.222
4.479 8.231
4.499 8.241
4.517 8.253
4.534 8.267
4.55 8.283
4.564 8.3
4.576 8.318
4.586 8.338
4.595 8.358
4.601 8.379
4.606 8.401
4.608 8.423
4.608 8.445
4.606 8.467
4.601 8.489
4.595 8.51
4.586 8.53
4.576 8.55
4.564 8.568
4.55 8.585
4.534 8.601
4.517 8.615
4.499 8.627
4.488 8.633
4.488 9.479
4.487 9.489
4.485 9.5
4.482 9.509
4.478 9.519
4.473 9.528
4.467 9.537
4.461 9.545
4.188 9.818
4.188 23.131
4.185 23.155
4.185 23.164
4.181 23.184
4.178 23.191
4.173 23.205
4.172 23.209
4.168 23.221
4.167 23.222
4.163 23.231
4.162 23.232
4.162 23.233
4.161 23.235
4.158 23.24
4.152 23.249
4.15 23.251
4.146 23.259
4.138 23.271
4.132 23.279
4.103 23.307
4.095 23.314
4.079 23.324
4.078 23.324
4.073 23.327
4.07 23.329
4.065 23.333
4.059 23.336
4.058 23.337
4.057 23.337
4.056 23.338
4.047 23.342
4.042 23.344
4.039 23.345
4.037 23.346
4.029 23.348
4.015 23.353
4.008 23.356
4.007 23.356
4.005 23.357
3.99 23.36
3.986 23.36
3.941 23.365
3.937 23.367
3.929 23.372
3.927 23.373
3.926 23.375
3.924 23.377
3.923 23.38
3.92 23.387
3.919 23.394
3.919 23.767
3.921 23.782
3.921 23.784
3.922 23.785
3.927 23.793
3.928 23.795
3.93 23.796
3.932 23.798
3.935 23.799
3.942 23.802
3.957 23.804
4.088 23.804
4.098 23.805
4.109 23.807
4.118 23.81
4.128 23.814
4.137 23.819
4.484 23.819
4.493 23.82
4.557 23.827
4.56 23.827
4.564 23.828
4.566 23.828
4.568 23.829
4.58 23.831
4.641 23.853
4.643 23.854
4.651 23.856
4.657 23.859
4.658 23.859
4.668 23.863
4.676 23.868
4.685 23.874
4.686 23.875
4.725 23.9
4.731 23.904
4.734 23.905
4.743 23.911
4.751 23.917
4.756 23.922
4.796 23.963
4.798 23.964
4.804 23.97
4.811 23.978
4.812 23.98
4.816 23.984
4.822 23.992
4.824 23.997
4.852 24.042
4.853 24.044
4.858 24.05
4.863 24.059
4.864 24.062
4.866 24.065
4.87 24.075
4.871 24.078
4.892 24.14
4.895 24.147
4.895 24.148
4.896 24.15
4.898 24.16
4.898 24.164
4.899 24.167
4.899 24.169
4.906 24.235
4.907 24.243
4.907 24.256
4.906 24.263
4.899 24.329
4.899 24.331
4.898 24.334
4.898 24.338
4.897 24.342
4.895 24.351
4.892 24.358
4.873 24.412
4.873 24.413
4.87 24.423
4.867 24.429
4.864 24.437
4.863 24.439
4.863 24.44
4.862 24.441
4.852 24.456
4.826 24.497
4.822 24.503
4.821 24.506
4.815 24.515
4.809 24.523
4.804 24.528
4.763 24.568
4.762 24.57
4.756 24.576
4.748 24.583
4.746 24.585
4.734 24.594
4.729 24.596
4.684 24.624
4.682 24.625
4.676 24.63
4.667 24.635
4.664 24.636
4.661 24.638
4.651 24.642
4.648 24.643
4.587 24.664
4.583 24.665
4.577 24.668
4.567 24.67
4.56 24.671
4.558 24.671
4.492 24.678
4.484 24.679
3.955 24.679
3.94 24.681
3.938 24.681
3.937 24.682
3.929 24.687
3.928 24.687
3.927 24.688
3.922 24.697
3.92 24.702
3.919 24.71
3.919 25.082
3.921 25.097
3.921 25.1
3.923 25.103
3.923 25.104
3.925 25.106
3.932 25.114
3.933 25.115
3.935 25.115
3.942 25.118
3.949 25.119
4.484 25.119
4.492 25.12
4.557 25.127
4.56 25.127
4.564 25.128
4.566 25.128
4.568 25.129
4.58 25.131
4.641 25.153
4.643 25.154
4.651 25.156
4.657 25.159
4.658 25.159
4.668 25.163
4.676 25.168
4.685 25.174
4.686 25.175
4.725 25.2
4.731 25.204
4.734 25.205
4.743 25.211
4.751 25.217
4.756 25.222
4.796 25.263
4.798 25.264
4.804 25.27
4.811 25.278
4.812 25.28
4.816 25.284
4.822 25.292
4.824 25.297
4.852 25.342
4.853 25.344
4.858 25.35
4.863 25.359
4.864 25.362
4.866 25.365
4.87 25.375
4.871 25.378
4.892 25.44
4.895 25.447
4.895 25.448
4.896 25.45
4.898 25.46
4.898 25.464
4.899 25.467
4.899 25.469
4.906 25.535
4.907 25.543
4.907 25.556
4.906 25.563
4.899 25.629
4.899 25.631
4.898 25.634
4.898 25.638
4.897 25.642
4.895 25.651
4.892 25.658
4.873 25.712
4.873 25.713
4.87 25.723
4.867 25.729
4.864 25.737
4.863 25.739
4.863 25.74
4.862 25.741
4.852 25.756
4.826 25.797
4.822 25.803
4.821 25.806
4.815 25.815
4.809 25.823
4.804 25.828
4.763 25.868
4.762 25.87
4.756 25.876
4.748 25.883
4.746 25.885
4.734 25.894
4.729 25.896
4.684 25.924
4.682 25.925
4.676 25.93
4.667 25.935
4.664 25.936
4.661 25.938
4.651 25.942
4.648 25.943
4.587 25.964
4.583 25.965
4.577 25.968
4.567 25.97
4.56 25.971
4.558 25.971
4.492 25.978
4.484 25.979
3.955 25.979
3.94 25.981
3.938 25.981
3.937 25.982
3.929 25.987
3.928 25.987
3.927 25.988
3.922 25.997
3.92 26.002
3.919 26.01
3.919 26.382
3.921 26.397
3.921 26.4
3.923 26.403
3.923 26.404
3.925 26.406
3.932 26.414
3.933 26.415
3.935 26.415
3.942 26.418
3.949 26.419
4.484 26.419
4.492 26.42
4.557 26.427
4.56 26.427
4.564 26.428
4.566 26.428
4.568 26.429
4.58 26.431
4.641 26.453
4.643 26.454
4.651 26.456
4.657 26.459
4.658 26.459
4.668 26.463
4.676 26.468
4.685 26.474
4.686 26.475
4.725 26.5
4.731 26.504
4.734 26.505
4.743 26.511
4.751 26.517
4.756 26.522
4.796 26.563
4.798 26.564
4.804 26.57
4.811 26.578
4.812 26.58
4.816 26.584
4.822 26.592
4.824 26.597
4.852 26.642
4.853 26.644
4.858 26.65
4.863 26.659
4.864 26.662
4.866 26.665
4.87 26.675
4.871 26.678
4.892 26.74
4.895 26.747
4.895 26.748
4.896 26.75
4.898 26.76
4.898 26.764
4.899 26.767
4.899 26.769
4.906 26.835
4.907 26.843
4.907 26.856
4.906 26.863
4.899 26.929
4.899 26.931
4.898 26.934
4.898 26.938
4.897 26.942
4.895 26.951
4.892 26.958
4.873 27.012
4.873 27.013
4.87 27.023
4.867 27.029
4.864 27.037
4.863 27.039
4.863 27.04
4.862 27.041
4.852 27.056
4.826 27.097
4.822 27.103
4.821 27.106
4.815 27.115
4.809 27.123
4.804 27.128
4.763 27.168
4.762 27.17
4.756 27.176
4.748 27.183
4.746 27.185
4.734 27.194
4.729 27.196
4.684 27.224
4.682 27.225
4.676 27.23
4.667 27.235
4.664 27.236
4.661 27.238
4.651 27.242
4.648 27.243
4.587 27.264
4.583 27.265
4.577 27.268
4.567 27.27
4.56 27.271
4.558 27.271
4.492 27.278
4.484 27.279
4.416 27.279
4.358 27.285
4.311 27.302
4.273 27.326
4.237 27.361
4.211 27.403
4.194 27.448
4.188 27.507
4.188 28.58
7.911 32.303
7.917 32.311
7.923 32.32
7.928 32.329
7.932 32.339
7.935 32.348
7.937 32.359
7.938 32.369
7.938 38.426
7.949 38.431
7.967 38.443
7.984 38.457
8 38.473
8.014 38.49
8.026 38.508
8.036 38.528
8.045 38.548
8.051 38.569
8.056 38.591
8.058 38.613
8.058 38.635
8.056 38.657
8.051 38.679
8.045 38.7
8.036 38.72
8.026 38.74
8.014 38.758
8 38.775
7.984 38.791
7.967 38.805
7.949 38.817
7.929 38.827
7.909 38.836
7.888 38.842
7.866 38.847
7.844 38.849
7.822 38.849
END
10 77 5 N 6891 1 1 100 100 0 0 0 Y
TLAYNAM B.Cu_thick INH
USER_DAT FromImport
3.588 9.618
3.861 9.345
3.867 9.337
3.873 9.328
3.878 9.319
3.882 9.309
3.885 9.3
3.887 9.289
3.888 9.279
3.888 8.633
3.899 8.627
3.917 8.615
3.934 8.601
3.95 8.585
3.964 8.568
3.976 8.55
3.986 8.53
3.995 8.51
4.001 8.489
4.006 8.467
4.008 8.445
4.008 8.423
4.006 8.401
4.001 8.379
3.995 8.358
3.986 8.338
3.976 8.318
3.964 8.3
3.95 8.283
3.934 8.267
3.917 8.253
3.899 8.241
3.879 8.231
3.859 8.222
3.838 8.216
3.816 8.211
3.794 8.209
3.772 8.209
3.75 8.211
3.728 8.216
3.707 8.222
3.687 8.231
3.667 8.241
3.649 8.253
3.632 8.267
3.616 8.283
3.602 8.3
3.59 8.318
3.58 8.338
3.571 8.358
3.565 8.379
3.56 8.401
3.558 8.423
3.558 8.445
3.56 8.467
3.565 8.489
3.571 8.51
3.58 8.53
3.59 8.55
3.602 8.568
3.616 8.585
3.632 8.601
3.649 8.615
3.667 8.627
3.678 8.633
3.678 9.23
3.405 9.503
3.399 9.511
3.393 9.52
3.388 9.529
3.384 9.539
3.381 9.548
3.379 9.559
3.378 9.569
3.378 18.275
3.588 18.275
3.588 9.618
END
10 77 5 N 6893 1 1 100 100 0 0 0 Y
TLAYNAM B.Cu_thick INH
USER_DAT FromImport
7.366 38.197
7.388 38.192
7.409 38.186
7.429 38.177
7.449 38.167
7.467 38.155
7.484 38.141
7.5 38.125
7.514 38.108
7.526 38.09
7.536 38.07
7.545 38.05
7.551 38.029
7.556 38.007
7.558 37.985
7.558 37.963
7.556 37.941
7.551 37.919
7.545 37.898
7.536 37.878
7.526 37.858
7.514 37.84
7.5 37.823
7.484 37.807
7.467 37.793
7.449 37.781
7.438 37.776
7.438 32.919
7.437 32.909
7.435 32.898
7.432 32.889
7.428 32.879
7.423 32.87
7.417 32.861
7.411 32.853
3.588 29.03
3.588 22.225
3.378 22.225
3.378 29.079
3.379 29.089
3.381 29.1
3.384 29.109
3.388 29.119
3.393 29.128
3.399 29.137
3.405 29.145
7.228 32.968
7.228 37.776
7.217 37.781
7.199 37.793
7.182 37.807
7.166 37.823
7.152 37.84
7.14 37.858
7.13 37.878
7.121 37.898
7.115 37.919
7.11 37.941
7.108 37.963
7.108 37.985
7.11 38.007
7.115 38.029
7.121 38.05
7.13 38.07
7.14 38.09
7.152 38.108
7.166 38.125
7.182 38.141
7.199 38.155
7.217 38.167
7.237 38.177
7.257 38.186
7.278 38.192
7.3 38.197
7.322 38.199
7.344 38.199
7.366 38.197
END
10 618 5 V 6894 1 1 100 100 0 0 0 Y
TLAYNAM B.Cu_thick NOH
USER_DAT FromImport
3.588 22.168
3.587 22.159
3.58 22.094
3.58 22.092
3.579 22.089
3.579 22.085
3.577 22.075
3.576 22.073
3.576 22.072
3.573 22.065
3.552 22.003
3.551 22
3.547 21.99
3.545 21.987
3.544 21.984
3.539 21.975
3.534 21.969
3.533 21.967
3.505 21.922
3.503 21.917
3.497 21.909
3.493 21.905
3.492 21.903
3.485 21.895
3.479 21.889
3.477 21.888
3.437 21.847
3.432 21.842
3.424 21.836
3.415 21.83
3.412 21.829
3.406 21.825
3.365 21.799
3.35 21.789
3.349 21.788
3.348 21.788
3.345 21.787
3.338 21.784
3.332 21.781
3.322 21.778
3.321 21.778
3.267 21.759
3.26 21.756
3.251 21.754
3.247 21.753
3.243 21.753
3.24 21.752
3.238 21.752
3.173 21.745
3.165 21.744
3.109 21.744
3.05 21.738
3.007 21.722
2.962 21.693
2.928 21.659
2.904 21.621
2.887 21.574
2.882 21.524
2.887 21.473
2.904 21.428
2.928 21.389
2.968 21.349
3.004 21.327
3.051 21.31
3.109 21.304
3.618 21.304
3.657 21.3
3.667 21.298
3.682 21.292
3.686 21.29
3.707 21.283
3.709 21.283
3.718 21.278
3.719 21.277
3.725 21.274
3.733 21.268
3.737 21.266
3.746 21.262
3.754 21.256
3.762 21.249
3.79 21.222
3.796 21.214
3.802 21.205
3.805 21.2
3.809 21.192
3.813 21.186
3.815 21.184
3.821 21.175
3.825 21.166
3.838 21.129
3.838 21.127
3.839 21.122
3.841 21.116
3.841 21.112
3.842 21.109
3.842 21.107
3.844 21.086
3.845 21.078
3.845 20.671
3.841 20.632
3.839 20.622
3.833 20.607
3.831 20.603
3.831 20.602
3.83 20.599
3.824 20.579
3.819 20.57
3.815 20.564
3.802 20.544
3.802 20.543
3.801 20.541
3.792 20.529
3.785 20.521
3.777 20.514
3.775 20.513
3.767 20.505
3.762 20.499
3.76 20.497
3.752 20.491
3.745 20.487
3.735 20.481
3.733 20.48
3.727 20.476
3.725 20.474
3.716 20.468
3.707 20.464
3.67 20.451
3.667 20.451
3.659 20.449
3.656 20.448
3.654 20.448
3.65 20.447
3.646 20.447
3.627 20.445
3.618 20.444
3.109 20.444
3.05 20.438
3.007 20.422
2.962 20.393
2.928 20.359
2.904 20.321
2.887 20.274
2.882 20.224
2.887 20.173
2.904 20.128
2.928 20.089
2.968 20.049
3.004 20.027
3.051 20.01
3.109 20.004
3.618 20.004
3.657 20
3.667 19.998
3.682 19.992
3.686 19.99
3.707 19.983
3.709 19.983
3.718 19.978
3.719 19.977
3.725 19.974
3.733 19.968
3.737 19.966
3.746 19.962
3.754 19.956
3.762 19.949
3.79 19.922
3.796 19.914
3.802 19.905
3.805 19.9
3.809 19.892
3.813 19.886
3.815 19.884
3.821 19.875
3.825 19.866
3.838 19.829
3.838 19.827
3.839 19.822
3.841 19.816
3.841 19.812
3.842 19.809
3.842 19.807
3.844 19.786
3.845 19.778
3.845 19.371
3.841 19.332
3.839 19.322
3.833 19.307
3.831 19.303
3.831 19.302
3.83 19.299
3.824 19.279
3.819 19.27
3.815 19.264
3.802 19.244
3.802 19.243
3.801 19.241
3.792 19.229
3.785 19.221
3.777 19.214
3.775 19.213
3.767 19.205
3.762 19.199
3.76 19.197
3.752 19.191
3.745 19.187
3.735 19.181
3.733 19.18
3.727 19.176
3.725 19.174
3.716 19.168
3.707 19.164
3.67 19.151
3.667 19.151
3.659 19.149
3.656 19.148
3.654 19.148
3.65 19.147
3.646 19.147
3.627 19.145
3.618 19.144
3.109 19.144
3.05 19.138
3.007 19.122
2.962 19.093
2.928 19.059
2.904 19.021
2.887 18.974
2.882 18.924
2.887 18.873
2.904 18.828
2.928 18.789
2.968 18.749
3.004 18.727
3.051 18.71
3.109 18.704
3.164 18.704
3.173 18.703
3.238 18.696
3.24 18.696
3.243 18.695
3.247 18.695
3.257 18.693
3.259 18.692
3.26 18.692
3.267 18.689
3.329 18.668
3.332 18.667
3.342 18.663
3.345 18.661
3.348 18.66
3.357 18.655
3.363 18.65
3.365 18.649
3.41 18.621
3.415 18.619
3.427 18.61
3.429 18.608
3.437 18.601
3.443 18.595
3.444 18.593
3.485 18.553
3.49 18.548
3.496 18.54
3.502 18.531
3.503 18.528
3.507 18.522
3.533 18.481
3.543 18.466
3.544 18.465
3.544 18.464
3.545 18.462
3.548 18.454
3.551 18.448
3.554 18.438
3.554 18.437
3.573 18.383
3.576 18.376
3.578 18.367
3.579 18.363
3.579 18.359
3.58 18.356
3.58 18.354
3.587 18.289
3.588 18.281
3.588 18.275
3.377068966 18.275
3.372 18.324
3.355 18.371
3.331 18.409
3.296 18.445
3.254 18.471
3.209 18.488
3.15 18.494
3.094 18.494
3.086 18.495
3.021 18.502
3.019 18.502
3.016 18.503
3.012 18.503
3.008 18.504
2.999 18.506
2.992 18.509
2.938 18.528
2.937 18.528
2.927 18.531
2.921 18.534
2.913 18.537
2.911 18.538
2.91 18.538
2.909 18.539
2.838 18.584
2.83 18.59
2.822 18.597
2.819 18.602
2.785 18.636
2.782 18.638
2.774 18.645
2.767 18.653
2.758 18.665
2.757 18.667
2.757 18.668
2.726 18.717
2.725 18.719
2.72 18.725
2.715 18.734
2.714 18.737
2.712 18.74
2.708 18.75
2.707 18.753
2.686 18.815
2.683 18.822
2.683 18.823
2.682 18.825
2.68 18.835
2.68 18.839
2.679 18.842
2.679 18.844
2.672 18.91
2.671 18.918
2.671 18.931
2.672 18.938
2.679 19.004
2.679 19.006
2.68 19.009
2.68 19.013
2.681 19.017
2.683 19.026
2.686 19.033
2.705 19.087
2.705 19.088
2.708 19.098
2.711 19.104
2.714 19.112
2.715 19.114
2.715 19.115
2.716 19.116
2.726 19.131
2.752 19.172
2.756 19.178
2.757 19.181
2.763 19.19
2.769 19.198
2.774 19.203
2.823 19.251
2.828 19.256
2.836 19.263
2.844 19.269
2.852 19.272
2.854 19.273
2.892 19.297
2.894 19.299
2.902 19.305
2.911 19.31
2.92 19.314
2.924 19.316
2.928 19.317
2.929 19.317
2.992 19.339
2.999 19.342
3 19.342
3.002 19.343
3.012 19.345
3.016 19.345
3.019 19.346
3.021 19.346
3.086 19.353
3.095 19.354
3.604 19.354
3.619 19.356
3.622 19.357
3.625 19.359
3.628 19.362
3.63 19.365
3.631 19.365
3.634 19.375
3.635 19.385
3.635 19.764
3.634 19.777
3.633 19.778
3.628 19.786
3.628 19.787
3.614 19.793
3.604 19.794
3.094 19.794
3.085 19.795
3.021 19.802
3.019 19.802
3.016 19.803
3.012 19.803
3.008 19.804
2.999 19.806
2.992 19.809
2.938 19.828
2.937 19.828
2.927 19.831
2.921 19.834
2.913 19.837
2.911 19.838
2.91 19.838
2.909 19.839
2.838 19.884
2.83 19.89
2.822 19.897
2.819 19.902
2.785 19.936
2.782 19.938
2.774 19.945
2.767 19.953
2.758 19.965
2.757 19.967
2.757 19.968
2.726 20.017
2.725 20.019
2.72 20.025
2.715 20.034
2.714 20.037
2.712 20.04
2.708 20.05
2.707 20.053
2.686 20.115
2.683 20.122
2.683 20.123
2.682 20.125
2.68 20.135
2.68 20.139
2.679 20.142
2.679 20.144
2.672 20.21
2.671 20.218
2.671 20.231
2.672 20.238
2.679 20.304
2.679 20.306
2.68 20.309
2.68 20.313
2.681 20.317
2.683 20.326
2.686 20.333
2.705 20.387
2.705 20.388
2.708 20.398
2.711 20.404
2.714 20.412
2.715 20.414
2.715 20.415
2.716 20.416
2.726 20.431
2.752 20.472
2.756 20.478
2.757 20.481
2.763 20.49
2.769 20.498
2.774 20.503
2.823 20.551
2.828 20.556
2.836 20.563
2.844 20.569
2.852 20.572
2.854 20.573
2.892 20.597
2.894 20.599
2.902 20.605
2.911 20.61
2.92 20.614
2.924 20.616
2.928 20.617
2.929 20.617
2.992 20.639
2.999 20.642
3 20.642
3.002 20.643
3.012 20.645
3.016 20.645
3.019 20.646
3.021 20.646
3.086 20.653
3.095 20.654
3.604 20.654
3.619 20.656
3.622 20.657
3.625 20.659
3.628 20.662
3.63 20.665
3.631 20.665
3.634 20.675
3.635 20.685
3.635 21.064
3.634 21.077
3.633 21.078
3.628 21.086
3.628 21.087
3.614 21.093
3.604 21.094
3.094 21.094
3.085 21.095
3.021 21.102
3.019 21.102
3.016 21.103
3.012 21.103
3.008 21.104
2.999 21.106
2.992 21.109
2.938 21.128
2.937 21.128
2.927 21.131
2.921 21.134
2.913 21.137
2.911 21.138
2.91 21.138
2.909 21.139
2.838 21.184
2.83 21.19
2.822 21.197
2.819 21.202
2.785 21.236
2.782 21.238
2.774 21.245
2.767 21.253
2.758 21.265
2.757 21.267
2.757 21.268
2.726 21.317
2.725 21.319
2.72 21.325
2.715 21.334
2.714 21.337
2.712 21.34
2.708 21.35
2.707 21.353
2.686 21.415
2.683 21.422
2.683 21.423
2.682 21.425
2.68 21.435
2.68 21.439
2.679 21.442
2.679 21.444
2.672 21.51
2.671 21.518
2.671 21.531
2.672 21.538
2.679 21.604
2.679 21.606
2.68 21.609
2.68 21.613
2.681 21.617
2.683 21.626
2.686 21.633
2.705 21.687
2.705 21.688
2.708 21.698
2.711 21.704
2.714 21.712
2.715 21.714
2.715 21.715
2.716 21.716
2.726 21.731
2.752 21.772
2.756 21.778
2.757 21.781
2.763 21.79
2.769 21.798
2.774 21.803
2.823 21.851
2.828 21.856
2.836 21.863
2.844 21.869
2.852 21.872
2.854 21.873
2.892 21.897
2.894 21.899
2.902 21.905
2.911 21.91
2.92 21.914
2.924 21.916
2.928 21.917
2.929 21.917
2.992 21.939
2.999 21.942
3 21.942
3.002 21.943
3.012 21.945
3.016 21.945
3.019 21.946
3.021 21.946
3.086 21.953
3.095 21.954
3.15 21.954
3.208 21.96
3.255 21.977
3.293 22.001
3.329 22.036
3.355 22.078
3.372 22.123
3.378 22.182
3.378 22.225
3.588 22.225
3.588 22.168
END
END GEO
OPT
MAX 0
END OPT
VARSWP
ENABLED Y
FREQ Y AY ABS_ENTRY 0.001 8.0 -1 300 
END
END VARSWP
3DOPTIONS
GLOBAL 2
ALL 13 1
END 3DOPTIONS
```
